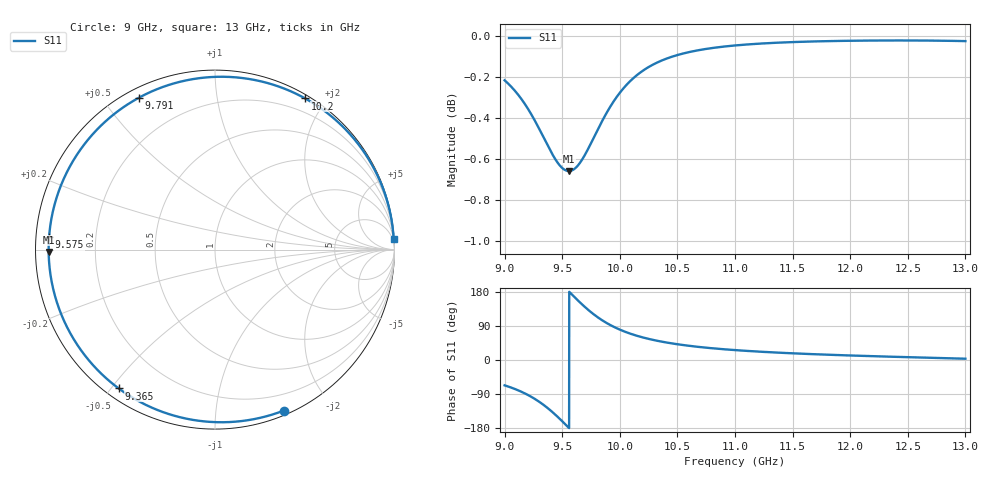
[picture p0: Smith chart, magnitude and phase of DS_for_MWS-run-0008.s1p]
! TOUCHSTONE file generated by CST DESIGN STUDIO
! Date and time: Tue Feb  4 12:53:57 2025
! Project name: C:\Work\MatlabApps\UnitCellOptimizationMatlab\CST\unitcell.cst
! Tree item: Tasks\Sweep1\SPara1\S-Parameters
! Header version: 2024
! Port assignment regex: !\s*Touchstone port\s*([0-9]+)\s*=\s*(CST MWS port|CST DES external port|CST DES block port)\s*(.+)\s* \(\"(.*)\"\)(\s*mode\s*([0-9]+))?.*
! Touchstone port assignment:
! Touchstone port 1 = CST DES external port 1 ("")
# GHz S MA R 50
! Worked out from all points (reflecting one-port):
!   4001 points, 9 GHz to 13 GHz, reference 50 ohm
!   lowest |S11| = -0.7 dB at 9.558 GHz (marker M1), VSWR 26.38, Z = 1.9 - j0.37 ohm
!   phase of S11 starts at -67 deg and turns -290 deg over the sweep
!   S11 on the Smith chart (normalised r, x): 9 GHz: 0.04, -1.51; 9.365 GHz: 0.04, -0.52; 9.575 GHz: 0.04, +0.04; 9.791 GHz: 0.04, +0.62; 10.2 GHz: 0.04, +1.76; 13 GHz: 2, +34
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9  0.9752 -66.9
9.041  0.9728 -71.0
9.107  0.9682 -78.7
9.219  0.9582 -95.0
9.296  0.9496 -109.3
9.365  0.9414 -124.7
9.43  0.9341 -141.5
9.5  0.9285 -161.5
9.558  0.9269 -179.2
9.575  0.9271 175.6
9.629  0.9293 159.3
9.69  0.9346 141.8
9.74  0.9403 128.7
9.791  0.9466 116.6
9.836  0.952 107.0
9.884  0.9575 97.9
9.938  0.963 89.0
10  0.9685 80.2
10.097  0.9752 68.9
10.204  0.9807 59.2
10.34  0.9855 49.8
10.5  0.9891 41.6
10.721  0.9922 33.4
11  0.9945 26.1
11.5  0.9963 17.6
12  0.9971 11.9
12.5  0.9972 7.4
13  0.9969 3.4
